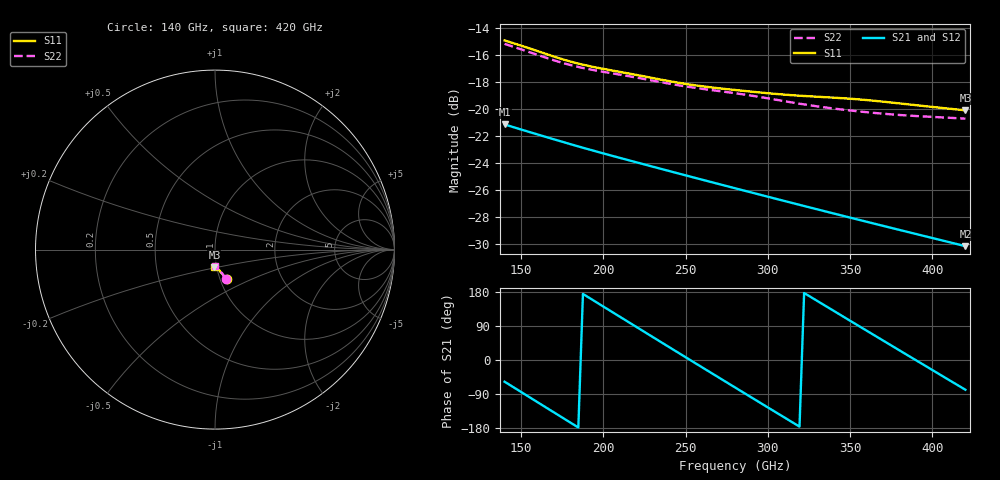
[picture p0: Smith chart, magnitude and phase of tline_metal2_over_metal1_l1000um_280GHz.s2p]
#  GHZ S DB R 50
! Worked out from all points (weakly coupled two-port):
!   101 points, 140 GHz to 420 GHz, reference 50 ohm
!   highest |S21| = -21.15 dB at 140 GHz (marker M1); lowest = -30.1 dB at 420 GHz (marker M2)
!   lowest |S11| = -20.1 dB at 420 GHz (marker M3), VSWR 1.22, Z = 48.7 - j9.72 ohm
!   |S11| at or under -10 dB: start of sweep to end of sweep
!   |S22| runs from -20.7 to -15.2 dB; largest |S21 - S12| = 9.1e-14
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140  -14.95 -68.0  -21.15 -57.3  -21.15 -57.3  -15.20 -69.0
148.4  -15.27 -69.2  -21.46 -80.0  -21.46 -80.0  -15.54 -70.0
159.6  -15.72 -70.6  -21.87 -110.3  -21.87 -110.3  -16.00 -71.2
173.6  -16.28 -71.9  -22.38 -148.0  -22.38 -148.0  -16.55 -72.2
187.6  -16.74 -72.6  -22.87 174.3  -22.87 174.3  -16.98 -72.7
201.6  -17.09 -73.4  -23.34 136.8  -23.34 136.8  -17.30 -73.5
212.8  -17.33 -74.3  -23.71 106.7  -23.71 106.7  -17.53 -74.5
224  -17.59 -75.3  -24.07 76.8  -24.07 76.8  -17.78 -75.6
235.2  -17.85 -76.2  -24.43 46.8  -24.43 46.8  -18.03 -76.7
246.4  -18.09 -76.9  -24.79 16.9  -24.79 16.9  -18.27 -77.6
254.8  -18.25 -77.3  -25.06 -5.5  -25.06 -5.5  -18.43 -78.2
268.8  -18.46 -78.1  -25.50 -42.7  -25.50 -42.7  -18.66 -79.4
280  -18.61 -78.8  -25.86 -72.4  -25.86 -72.4  -18.84 -80.5
291.2  -18.74 -79.6  -26.21 -102.0  -26.21 -102.0  -19.05 -81.7
305.2  -18.90 -80.7  -26.65 -139.0  -26.65 -139.0  -19.33 -83.0
316.4  -19.01 -81.5  -27.00 -168.4  -27.00 -168.4  -19.56 -83.8
327.6  -19.09 -82.4  -27.34 162.1  -27.34 162.1  -19.77 -84.4
350  -19.25 -84.8  -28.03 103.5  -28.03 103.5  -20.12 -85.4
361.2  -19.36 -86.1  -28.37 74.3  -28.37 74.3  -20.26 -85.9
375.2  -19.53 -87.7  -28.79 37.8  -28.79 37.8  -20.41 -86.4
394.8  -19.79 -89.7  -29.38 -13.2  -29.38 -13.2  -20.56 -87.3
420  -20.11 -91.8  -30.13 -78.5  -30.13 -78.5  -20.72 -89.0
